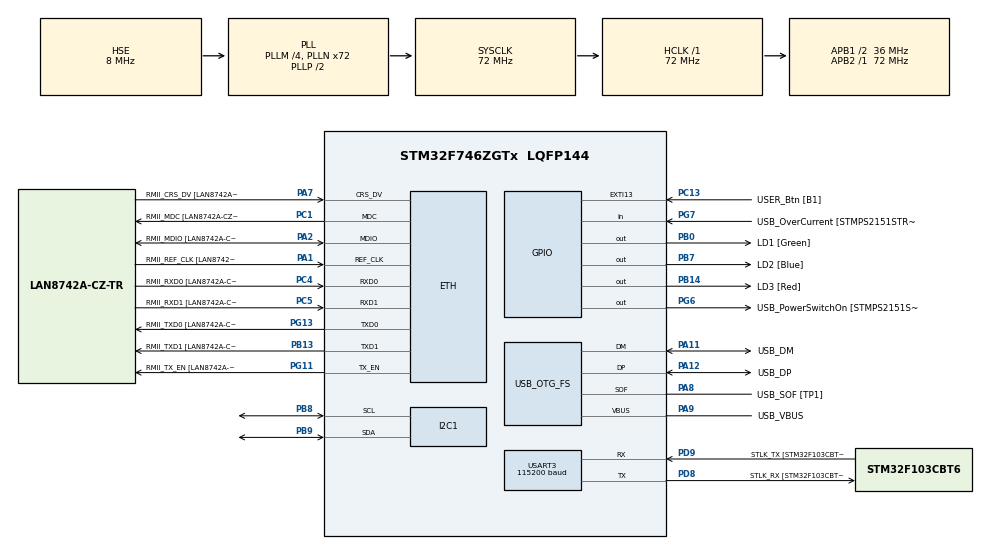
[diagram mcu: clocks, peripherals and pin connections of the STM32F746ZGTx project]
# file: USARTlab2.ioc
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ETH.MediaInterface=HAL_ETH_RMII_MODE
ETH.PHY_Name=LAN8742A_PHY_ADDRESS
ETH.PHY_Value=0
ETH.PhyAddress=0
I2C1.Timing=0x00808CD2
Mcu.Family=STM32F7
Mcu.Name=STM32F746ZGTx
Mcu.Package=LQFP144
NVIC.EXTI15_10_IRQn=true\:0\:0\:false\:false\:true\:true\:true\:true
NVIC.PriorityGroup=NVIC_PRIORITYGROUP_4
NVIC.USART3_IRQn=true\:0\:0\:false\:false\:true\:true\:true\:true
PA1.GPIO_Label=RMII_REF_CLK [LAN8742A-CZ-TR_REFCLK0]
PA1.Mode=RMII
PA1.Signal=ETH_REF_CLK
PA10.GPIO_Label=USB_ID
PA10.Signal=USB_OTG_FS_ID
PA11.GPIO_Label=USB_DM
PA11.Mode=Device_Only
PA11.Signal=USB_OTG_FS_DM
PA12.GPIO_Label=USB_DP
PA12.Mode=Device_Only
PA12.Signal=USB_OTG_FS_DP
PA13.GPIO_Label=TMS
PA13.Mode=Serial_Wire
PA13.Signal=SYS_JTMS-SWDIO
PA14.GPIO_Label=TCK
PA14.Mode=Serial_Wire
PA14.Signal=SYS_JTCK-SWCLK
PA2.GPIO_Label=RMII_MDIO [LAN8742A-CZ-TR_MDIO]
PA2.Mode=RMII
PA2.Signal=ETH_MDIO
PA7.GPIO_Label=RMII_CRS_DV [LAN8742A-CZ-TR_CRS_DV]
PA7.Mode=RMII
PA7.Signal=ETH_CRS_DV
PA8.GPIO_Label=USB_SOF [TP1]
PA8.Mode=Activate_SOF_FS
PA8.Signal=USB_OTG_FS_SOF
PA9.GPIO_Label=USB_VBUS
PA9.Mode=Activate_VBUS
PA9.Signal=USB_OTG_FS_VBUS
PB0.GPIO_Label=LD1 [Green]
PB0.Signal=GPIO_Output
PB13.GPIO_Label=RMII_TXD1 [LAN8742A-CZ-TR_TXD1]
PB13.Mode=RMII
PB13.Signal=ETH_TXD1
PB14.GPIO_Label=LD3 [Red]
PB14.Signal=GPIO_Output
PB3.GPIO_Label=SW0
PB3.Signal=SYS_JTDO-SWO
PB7.GPIO_Label=LD2 [Blue]
PB7.Signal=GPIO_Output
PB8.Mode=I2C
PB8.Signal=I2C1_SCL
PB9.Mode=I2C
PB9.Signal=I2C1_SDA
PC1.GPIO_Label=RMII_MDC [LAN8742A-CZ-TR_MDC]
PC1.Mode=RMII
PC1.Signal=ETH_MDC
PC13.GPIO_Label=USER_Btn [B1]
PC13.Signal=GPXTI13
PC14/OSC32_IN.Mode=LSE-External-Oscillator
PC14/OSC32_IN.Signal=RCC_OSC32_IN
PC15/OSC32_OUT.Mode=LSE-External-Oscillator
PC15/OSC32_OUT.Signal=RCC_OSC32_OUT
PC4.GPIO_Label=RMII_RXD0 [LAN8742A-CZ-TR_RXD0]
PC4.Mode=RMII
PC4.Signal=ETH_RXD0
PC5.GPIO_Label=RMII_RXD1 [LAN8742A-CZ-TR_RXD1]
PC5.Mode=RMII
PC5.Signal=ETH_RXD1
PD8.GPIO_Label=STLK_RX [STM32F103CBT6_PA3]
PD8.GPIO_PuPd=GPIO_PULLUP
PD8.Mode=Asynchronous
PD8.Signal=USART3_TX
PD9.GPIO_Label=STLK_TX [STM32F103CBT6_PA2]
PD9.GPIO_PuPd=GPIO_PULLUP
PD9.Mode=Asynchronous
PD9.Signal=USART3_RX
PG11.GPIO_Label=RMII_TX_EN [LAN8742A-CZ-TR_TXEN]
PG11.Mode=RMII
PG11.Signal=ETH_TX_EN
PG13.GPIO_Label=RMII_TXD0 [LAN8742A-CZ-TR_TXD0]
PG13.Mode=RMII
PG13.Signal=ETH_TXD0
PG6.GPIO_Label=USB_PowerSwitchOn [STMPS2151STR_EN]
PG6.Signal=GPIO_Output
PG7.GPIO_Label=USB_OverCurrent [STMPS2151STR_FAULT]
PG7.Signal=GPIO_Input
PH0/OSC_IN.GPIO_Label=MCO [STM32F103CBT6_PA8]
PH0/OSC_IN.Mode=HSE-External-Clock-Source
PH0/OSC_IN.Signal=RCC_OSC_IN
PH1/OSC_OUT.Mode=HSE-External-Clock-Source
PH1/OSC_OUT.Signal=RCC_OSC_OUT
ProjectManager.HeapSize=0x200
ProjectManager.StackSize=0x400
ProjectManager.TargetToolchain=STM32CubeIDE
RCC.48MHZClocksFreq_Value=24000000
RCC.AHBFreq_Value=72000000
RCC.APB1CLKDivider=RCC_HCLK_DIV2
RCC.APB1Freq_Value=36000000
RCC.APB1TimFreq_Value=72000000
RCC.APB2Freq_Value=72000000
RCC.APB2TimFreq_Value=72000000
RCC.CortexFreq_Value=72000000
RCC.HCLKFreq_Value=72000000
RCC.HSE_VALUE=8000000
RCC.HSI_VALUE=16000000
RCC.PLLM=4
RCC.PLLMUL=RCC_PLL_MUL9
RCC.PLLN=72
RCC.PLLQ=3
RCC.PRESCALERUSB=RCC_USBCLKSOURCE_PLL_DIV1_5
RCC.SYSCLKFreq_VALUE=72000000
RCC.SYSCLKSource=RCC_SYSCLKSOURCE_PLLCLK
RCC.SYSCLKSourceVirtual=RCC_SYSCLKSOURCE_PLLCLK
RCC.USBFreq_Value=48000000
RCC.VCOOutputFreq_Value=144000000
USART3.BaudRate=115200
USART3.VirtualMode-Asynchronous=VM_ASYNC
USB_OTG_FS.VirtualMode=Device_Only
board=NUCLEO-F746ZG

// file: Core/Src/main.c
/* USER CODE BEGIN Header */
/**
  ******************************************************************************
  * @file           : main.c
  * @brief          : Main program body
  ******************************************************************************
  * @attention
  *
  * Copyright (c) 2025 STMicroelectronics.
  * All rights reserved.
  *
  * This software is licensed under terms that can be found in the LICENSE file
  * in the root directory of this software component.
  * If no LICENSE file comes with this software, it is provided AS-IS.
  *
  ******************************************************************************
  */
/* USER CODE END Header */
#include "main.h"
#include "eth.h"
#include "i2c.h"
#include "usart.h"
#include "usb_otg.h"
#include "gpio.h"

/* USER CODE BEGIN Includes */
#include <string.h>
#include <stdio.h>
/* USER CODE END Includes */

/* USER CODE BEGIN PV */
//char msg[] = "Hello\r\n";
int licznik =0;
char buffer[20];
char odebrane[100];
uint8_t receivedChar;//ZAD3
uint8_t ind = 0; //ZAD3
uint8_t ledzik1 =0;//dozad5 //trzeba5 bo jest na koncu zawsze jak cos piszesz \0 jeszcze dodatkowo
uint8_t ledzik2 =0;//dozad5
uint8_t ledzik3 =0;//dozad5
char jeden[5] = "LED1";
char dwa[5] = "LED2";
char trzy[5] = "LED3";
char komunikat[] = "niepoprawny komunikat, napisz LED1 lub LED2 lub LED3 (+CR)";
/* USER CODE END PV */

void SystemClock_Config(void);
/* USER CODE BEGIN PFP */
void HAL_GPIO_EXTI_Callback(uint16_t GPIO_Pin)
{
  /* Prevent unused argument(s) compilation warning */
  if(GPIO_Pin == USER_Btn_Pin){
	  zad2();
  }

  /* NOTE: This function Should not be modified, when the callback is needed,
           the HAL_GPIO_EXTI_Callback could be implemented in the user file
   */
}

void HAL_UART_RxCpltCallback(UART_HandleTypeDef *huart)
{
  /* Prevent unused argument(s) compilation warning */
//if(huart->Instance==USART3){//do zad 4
//	HAL_UART_Transmit(&huart3, odebrane, strlen(odebrane), HAL_MAX_DELAY);
//}
//	HAL_UART_Receive_IT(&huart3, &receivedChar, 1);

  /* NOTE : This function should not be modified, when the callback is needed,
            the HAL_UART_RxCpltCallback can be implemented in the user file.
   */
}

void zad1(){
	sprintf(buffer, "Hello World\r\n");
	HAL_Delay(2500);
	HAL_UART_Transmit(&huart3, buffer, strlen(buffer), HAL_MAX_DELAY);
}

void zad2(){
		  licznik ++;//zad2start
		  sprintf(buffer, "Hello %d\r\n", licznik);
	HAL_UART_Transmit(&huart3, (uint8_t*)buffer, strlen(buffer), HAL_MAX_DELAY);
	HAL_Delay(100);
}

void zad3(){
    // Odbierz jeden znak
    HAL_UART_Receive(&huart3, &receivedChar, 1, HAL_MAX_DELAY);

    if(receivedChar == '\r' || receivedChar == '\n')
    {
        // Koniec linii - wyślij całą linię z powrotem
        odebrane[ind] = '\0'; // Zakończ string
        HAL_UART_Transmit(&huart3, (uint8_t*)odebrane, strlen(odebrane), HAL_MAX_DELAY);
        HAL_UART_Transmit(&huart3, (uint8_t*)"\r\n", 2, HAL_MAX_DELAY); // Nowa linia
        ind = 0; // Resetuj indeks
    }
    else
    {
        odebrane[ind++] = receivedChar; // Dodaj znak do bufora
        if(ind >= 99) ind = 0; // Zabezpieczenie przed przepełnieniem
    }
}

void zad4(){

}

void zad5(){
    // Odbierz jeden znak
    HAL_UART_Receive(&huart3, &receivedChar, 1, HAL_MAX_DELAY);

    if(receivedChar == '\r' || receivedChar == '\n')
    {
        // Koniec linii - wyślij całą linię z powrotem
        odebrane[ind] = '\0'; // Zakończ string
        HAL_UART_Transmit(&huart3, (uint8_t*)odebrane, strlen(odebrane), HAL_MAX_DELAY);
        HAL_UART_Transmit(&huart3, (uint8_t*)"\r\n", 2, HAL_MAX_DELAY); // Nowa linia
        ind = 0; // Resetuj indeks

    if (strcmp(jeden,odebrane)==0){
    	HAL_GPIO_WritePin(GPIOB, LD1_Pin, GPIO_PIN_SET);
    	HAL_GPIO_WritePin(GPIOB, LD2_Pin, GPIO_PIN_RESET);
    	HAL_GPIO_WritePin(GPIOB, LD3_Pin, GPIO_PIN_RESET);
    }
    else if (strcmp(dwa,odebrane)==0){
    	HAL_GPIO_WritePin(GPIOB, LD1_Pin, GPIO_PIN_RESET);
    	HAL_GPIO_WritePin(GPIOB, LD2_Pin, GPIO_PIN_SET);
    	HAL_GPIO_WritePin(GPIOB, LD3_Pin, GPIO_PIN_RESET);
    }
    else if (strcmp(trzy,odebrane)==0){
    	HAL_GPIO_WritePin(GPIOB, LD1_Pin, GPIO_PIN_RESET);
    	HAL_GPIO_WritePin(GPIOB, LD2_Pin, GPIO_PIN_RESET);
    	HAL_GPIO_WritePin(GPIOB, LD3_Pin, GPIO_PIN_SET);
    }
    else{
        HAL_UART_Transmit(&huart3, (uint8_t*)komunikat, strlen(komunikat), HAL_MAX_DELAY);
        HAL_UART_Transmit(&huart3, (uint8_t*)"\r\n", 2, HAL_MAX_DELAY); // Nowa linia
    }
    }
    else
    {
        odebrane[ind++] = receivedChar; // Dodaj znak do bufora
        if(ind >= 99) ind = 0; // Zabezpieczenie przed przepełnieniem
    };
}
/* USER CODE END PFP */

int main(void)
{

  /* MCU Configuration--------------------------------------------------------*/

  /* Reset of all peripherals, Initializes the Flash interface and the Systick. */
  HAL_Init();

  /* Configure the system clock */
  SystemClock_Config();

  /* Initialize all configured peripherals */
  MX_GPIO_Init();
  MX_ETH_Init();
  MX_I2C1_Init();
  MX_USART3_UART_Init();
  MX_USB_OTG_FS_PCD_Init();
  /* USER CODE BEGIN 2 */
//zad1();
 // HAL_UART_Receive_IT(&huart3, &odebrane, 1);//do zad4
  /* USER CODE END 2 */

  /* Infinite loop */
  while (1)
  {
//zad3();
	  //zad5();
  }
}

void SystemClock_Config(void)
{
  RCC_OscInitTypeDef RCC_OscInitStruct = {0};
  RCC_ClkInitTypeDef RCC_ClkInitStruct = {0};

  /** Configure LSE Drive Capability
  */
  HAL_PWR_EnableBkUpAccess();

  /** Configure the main internal regulator output voltage
  */
  __HAL_RCC_PWR_CLK_ENABLE();
  __HAL_PWR_VOLTAGESCALING_CONFIG(PWR_REGULATOR_VOLTAGE_SCALE3);

  /** Initializes the RCC Oscillators according to the specified parameters
  * in the RCC_OscInitTypeDef structure.
  */
  RCC_OscInitStruct.OscillatorType = RCC_OSCILLATORTYPE_HSE;
  RCC_OscInitStruct.HSEState = RCC_HSE_BYPASS;
  RCC_OscInitStruct.PLL.PLLState = RCC_PLL_ON;
  RCC_OscInitStruct.PLL.PLLSource = RCC_PLLSOURCE_HSE;
  RCC_OscInitStruct.PLL.PLLM = 4;
  RCC_OscInitStruct.PLL.PLLN = 72;
  RCC_OscInitStruct.PLL.PLLP = RCC_PLLP_DIV2;
  RCC_OscInitStruct.PLL.PLLQ = 3;
  if (HAL_RCC_OscConfig(&RCC_OscInitStruct) != HAL_OK)
  {
    Error_Handler();
  }

  /** Initializes the CPU, AHB and APB buses clocks
  */
  RCC_ClkInitStruct.ClockType = RCC_CLOCKTYPE_HCLK|RCC_CLOCKTYPE_SYSCLK
                              |RCC_CLOCKTYPE_PCLK1|RCC_CLOCKTYPE_PCLK2;
  RCC_ClkInitStruct.SYSCLKSource = RCC_SYSCLKSOURCE_PLLCLK;
  RCC_ClkInitStruct.AHBCLKDivider = RCC_SYSCLK_DIV1;
  RCC_ClkInitStruct.APB1CLKDivider = RCC_HCLK_DIV2;
  RCC_ClkInitStruct.APB2CLKDivider = RCC_HCLK_DIV1;

  if (HAL_RCC_ClockConfig(&RCC_ClkInitStruct, FLASH_LATENCY_2) != HAL_OK)
  {
    Error_Handler();
  }
}

void Error_Handler(void)
{
  __disable_irq();
  while (1)
  {
  }
}
